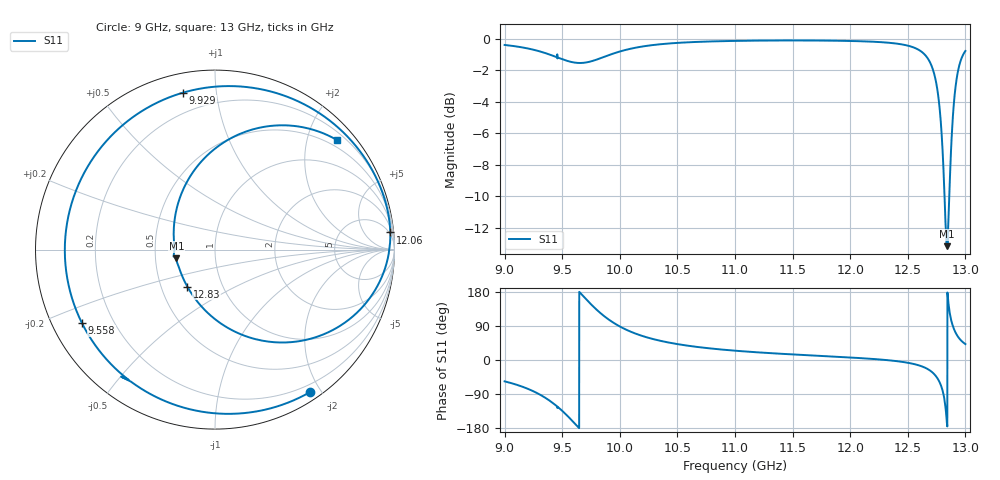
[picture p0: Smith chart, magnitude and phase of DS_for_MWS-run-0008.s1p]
! TOUCHSTONE file generated by CST DESIGN STUDIO
! Date and time: Tue Feb  4 18:18:03 2025
! Project name: C:\Work\MatlabApps\UnitCellOptimizationMatlab\CST\unitcell.cst
! Tree item: Tasks\Sweep1\SPara1\S-Parameters
! Header version: 2024
! Port assignment regex: !\s*Touchstone port\s*([0-9]+)\s*=\s*(CST MWS port|CST DES external port|CST DES block port)\s*(.+)\s* \(\"(.*)\"\)(\s*mode\s*([0-9]+))?.*
! Touchstone port assignment:
! Touchstone port 1 = CST DES external port 1 ("")
# GHz S MA R 50
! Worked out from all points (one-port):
!   4001 points, 9 GHz to 13 GHz, reference 50 ohm
!   lowest |S11| = -13.1 dB at 12.84 GHz (marker M1), VSWR 1.56, Z = 32.2 - j3.32 ohm
!   |S11| at or under -10 dB: 12.81898 GHz to 12.85996 GHz (40.98 MHz wide, 0.319 % of centre)
!   S11 on the Smith chart (normalised r, x): 9 GHz: 0.10, -1.86; 9.558 GHz: 0.09, -0.25; 9.929 GHz: 0.09, +0.81; 12.06 GHz: 4, +20; 12.83 GHz: 0.68, -0.30; 13 GHz: 0.35, +2.57
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9  0.9543 -56.4
9.164  0.9359 -71.6
9.315  0.9084 -92.8
9.413  0.8838 -112.2
9.5  0.8602 -134.2
9.558  0.8468 -151.2
9.635  0.8371 -175.9
9.71  0.8402 159.5
9.819  0.8628 127.2
9.929  0.8925 101.5
10  0.9097 88.5
10.22  0.9465 61.1
10.5  0.9687 42.0
11  0.9829 24.6
11.5  0.9861 14.7
12  0.9824 6.6
12.056  0.9813 5.6
12.5  0.9496 -7.3
12.627  0.9038 -17.4
12.706  0.8203 -30.8
12.781  0.5764 -61.9
12.805  0.4205 -84.2
12.828  0.2575 -126.8
12.84  0.2201 -167.1
12.868  0.3822 117.3
12.906  0.6587 77.9
12.953  0.8372 54.6
13  0.9134 41.9
